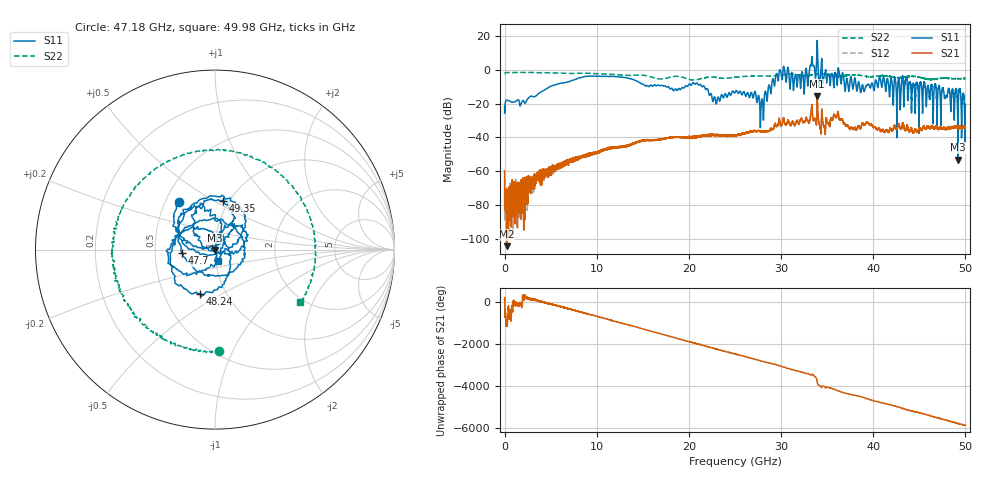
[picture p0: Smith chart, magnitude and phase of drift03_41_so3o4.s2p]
!Created with skrf (http://scikit-rf.org).
# Hz S RI R 50.0
!freq ReS11 ImS11 ReS21 ImS21 ReS12 ImS12 ReS22 ImS22
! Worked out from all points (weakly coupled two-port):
!   10001 points, 300 kHz to 50 GHz, reference 50 ohm
!   highest |S21| = -15.31 dB at 33.92 GHz (marker M1); lowest = -104.5 dB at 255.3 MHz (marker M2)
!   lowest |S11| = -53.2 dB at 49.18 GHz (marker M3), VSWR 1.00, Z = 49.9 - j0.207 ohm
!   |S11| at or under -10 dB: start of sweep to 4.849 GHz; 21.69 GHz to 28.62 GHz (6.934 GHz wide, 27.6 % of centre); 47.19 GHz to end of sweep (the widest 3 of 43)
!   |S22| runs from -5.9 to -1.3 dB; largest |S21 - S12| = 0.017
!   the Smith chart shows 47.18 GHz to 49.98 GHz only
!   S11 on the Smith chart (normalised r, x): 47.18 GHz: 0.59, +0.35; 47.7 GHz: 0.69, -0.03; 48.24 GHz: 0.75, -0.40; 49.35 GHz: 0.94, +0.55; 49.98 GHz: 1.03, -0.13
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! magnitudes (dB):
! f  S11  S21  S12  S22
! 300 kHz  -21.4  -59.8  -66.8  -2.1
! 255.3 MHz  -17.9  -104.5  -74.7  -1.4
! 8.335 GHz  -4.3  -51.7  -51.5  -1.9
! 16.67 GHz  -8.8  -41.2  -41.5  -5.2
! 21.01 GHz  -8.7  -39.3  -39.2  -5.6
! 22.81 GHz  -16.2  -38.8  -38.7  -4.2
! 25 GHz  -13.4  -38.7  -38.3  -4.2
! 27.02 GHz  -15.7  -36.5  -36.1  -3.5
! 27.92 GHz  -17.2  -36.4  -36.5  -3.5
! 29.69 GHz  -6.5  -32.1  -31.7  -3.1
! 32.32 GHz  -1.5  -30.5  -30.6  -3.3
! 33.34 GHz  8.0  -20.4  -20.8  -2.9
! 33.92 GHz  17.6  -15.3  -15.6  -2.5
! 38.82 GHz  -8.9  -31.5  -31.9  -3.4
! 41.67 GHz  -9.0  -36.6  -36.9  -3.6
! 47.18 GHz  -9.5  -34.6  -34.0  -5.0
! 47.7 GHz  -14.7  -34.9  -34.0  -4.8
! 48.24 GHz  -11.7  -34.3  -34.5  -4.9
! 49.18 GHz  -53.2  -34.3  -34.0  -5.1
! 49.35 GHz  -11.1  -34.0  -34.0  -5.1
! 49.98 GHz  -23.6  -34.1  -34.2  -5.1
! 50 GHz  -20.3  -33.9  -33.9  -5.0
